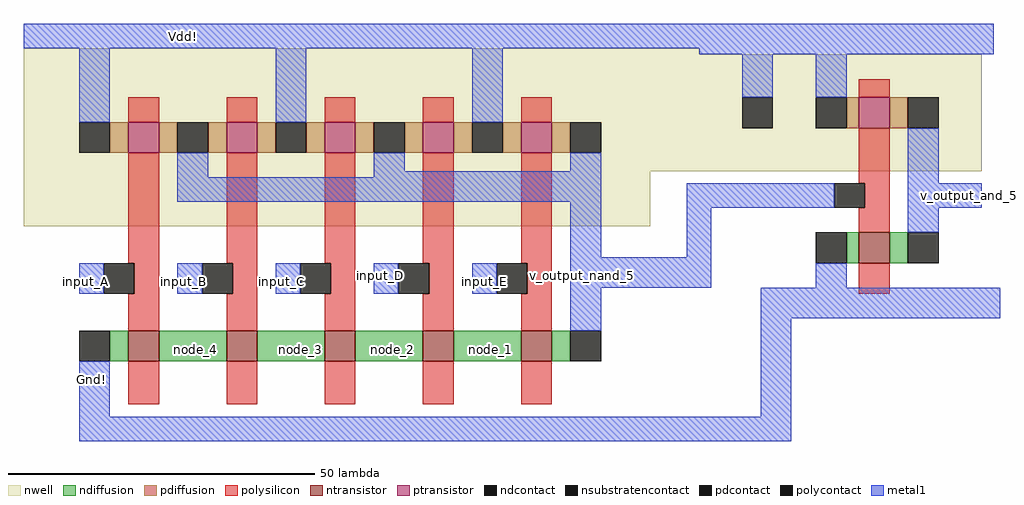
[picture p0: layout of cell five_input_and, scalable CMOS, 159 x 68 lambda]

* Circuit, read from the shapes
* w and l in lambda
.subckt five_input_and Gnd! Vdd! input_A input_B input_C input_D input_E node_1 node_2 node_3 node_4 v_output_and_5 v_output_nand_5
M1 node_4 input_A Gnd! VSUBS nfet w=5 l=5
M2 node_3 input_B node_4 VSUBS nfet w=5 l=5
M3 node_2 input_C node_3 VSUBS nfet w=5 l=5
M4 node_1 input_D node_2 VSUBS nfet w=5 l=5
M5 v_output_nand_5 input_E node_1 VSUBS nfet w=5 l=5
M6 v_output_and_5 v_output_nand_5 Gnd! VSUBS nfet w=5 l=5
M7 v_output_nand_5 input_A Vdd! Vdd! pfet w=5 l=5
M8 Vdd! input_B v_output_nand_5 Vdd! pfet w=5 l=5
M9 v_output_nand_5 input_C Vdd! Vdd! pfet w=5 l=5
M10 Vdd! input_D v_output_nand_5 Vdd! pfet w=5 l=5
M11 v_output_nand_5 input_E Vdd! Vdd! pfet w=5 l=5
M12 v_output_and_5 v_output_nand_5 Vdd! Vdd! pfet w=5 l=5
.ends

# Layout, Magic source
magic
tech scmos
<< nwell >>
rect -32 6 78 26
rect -32 -3 70 6
<< ntransistor >>
rect -15 -25 -10 -20
rect 1 -25 6 -20
rect 17 -25 22 -20
rect 33 -25 38 -20
rect 49 -25 54 -20
<< ptransistor >>
rect -15 9 -10 14
rect 1 9 6 14
rect 17 9 22 14
rect 33 9 38 14
rect 49 9 54 14
<< ndiffusion >>
rect -18 -25 -15 -20
rect -10 -25 1 -20
rect 6 -25 17 -20
rect 22 -25 33 -20
rect 38 -25 49 -20
rect 54 -25 57 -20
<< pdiffusion >>
rect -18 9 -15 14
rect -10 9 -7 14
rect -2 9 1 14
rect 6 9 9 14
rect 14 9 17 14
rect 22 9 25 14
rect 30 9 33 14
rect 38 9 41 14
rect 46 9 49 14
rect 54 9 57 14
<< ndcontact >>
rect -23 -25 -18 -20
rect 57 -25 62 -20
<< pdcontact >>
rect -23 9 -18 14
rect -7 9 -2 14
rect 9 9 14 14
rect 25 9 30 14
rect 41 9 46 14
rect 57 9 62 14
<< polysilicon >>
rect -15 14 -10 18
rect 1 14 6 18
rect 17 14 22 18
rect 33 14 38 18
rect 49 14 54 18
rect -15 -9 -10 9
rect 1 -9 6 9
rect 17 -9 22 9
rect 33 -9 38 9
rect 49 -9 54 9
rect -14 -14 -10 -9
rect 2 -14 6 -9
rect 18 -14 22 -9
rect 34 -14 38 -9
rect 50 -14 54 -9
rect -15 -20 -10 -14
rect 1 -20 6 -14
rect 17 -20 22 -14
rect 33 -20 38 -14
rect 49 -20 54 -14
rect -15 -32 -10 -25
rect 1 -32 6 -25
rect 17 -32 22 -25
rect 33 -32 38 -25
rect 49 -32 54 -25
<< polycontact >>
rect -19 -14 -14 -9
rect -3 -14 2 -9
rect 13 -14 18 -9
rect 29 -14 34 -9
rect 45 -14 50 -9
<< metal1 >>
rect -32 26 78 30
rect -23 14 -18 26
rect 9 14 14 26
rect 41 14 46 26
rect -7 5 -2 9
rect 25 6 30 9
rect 57 6 62 9
rect 25 5 62 6
rect -7 1 62 5
rect 57 -8 62 1
rect 76 0 96 4
rect 120 0 124 4
rect 76 -8 80 0
rect -23 -14 -19 -9
rect -7 -14 -3 -9
rect 9 -14 13 -9
rect 25 -14 29 -9
rect 41 -14 45 -9
rect 57 -13 80 -8
rect 57 -20 62 -13
rect -23 -34 -18 -25
rect 88 -34 93 -13
rect -23 -38 93 -34
use not_without_labels  not_without_labels_0
transform 1 0 94 0 1 -6
box -16 -12 33 36
<< labels >>
rlabel metal1 -6 28 -6 28 5 Vdd!
rlabel metal1 -22 -12 -22 -12 1 input_A
rlabel metal1 -6 -12 -6 -12 1 input_B
rlabel metal1 10 -12 10 -12 1 input_C
rlabel metal1 26 -11 26 -11 1 input_D
rlabel metal1 -21 -28 -21 -28 1 Gnd!
rlabel metal1 43 -12 43 -12 1 input_E
rlabel ndiffusion 44 -23 44 -23 1 node_1
rlabel ndiffusion 28 -23 28 -23 1 node_2
rlabel ndiffusion 13 -23 13 -23 1 node_3
rlabel ndiffusion -4 -23 -4 -23 1 node_4
rlabel metal1 59 -11 59 -11 1 v_output_nand_5
rlabel metal1 122 2 122 2 7 v_output_and_5
<< end >>

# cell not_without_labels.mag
magic
tech scmos
<< nwell >>
rect -16 12 30 31
<< ntransistor >>
rect 10 -3 15 2
<< ptransistor >>
rect 10 19 15 24
<< ndiffusion >>
rect 8 -3 10 2
rect 15 -3 18 2
<< pdiffusion >>
rect 8 19 10 24
rect 15 19 18 24
<< ndcontact >>
rect 3 -3 8 2
rect 18 -3 23 2
<< pdcontact >>
rect 3 19 8 24
rect 18 19 23 24
<< nsubstratencontact >>
rect -9 19 -4 24
<< polysilicon >>
rect 10 24 15 27
rect 10 10 15 19
rect 11 6 15 10
rect 10 2 15 6
rect 10 -8 15 -3
<< polycontact >>
rect 6 6 11 10
<< metal1 >>
rect -16 31 32 36
rect -9 24 -4 31
rect 3 24 8 31
rect 18 10 23 19
rect 2 6 6 10
rect 18 6 26 10
rect 18 2 23 6
rect 3 -7 8 -3
rect -6 -12 33 -7
<< end >>
